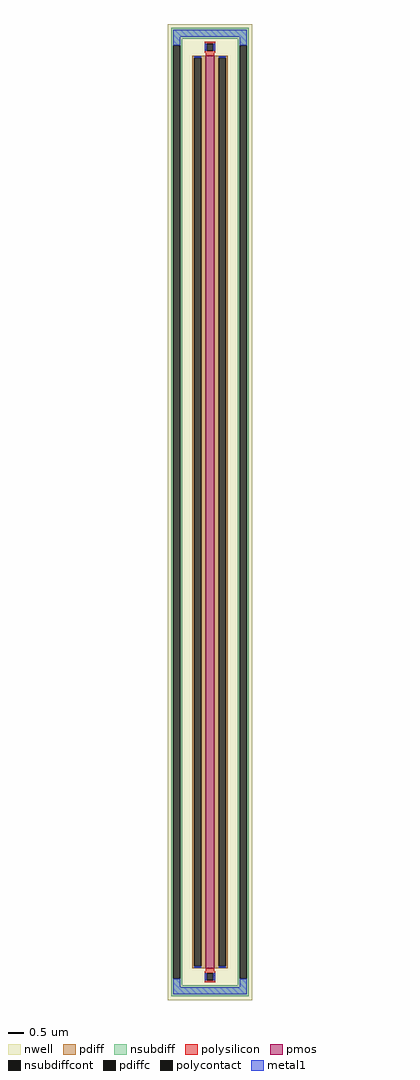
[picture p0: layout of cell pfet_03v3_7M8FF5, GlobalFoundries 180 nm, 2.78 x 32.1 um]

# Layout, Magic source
magic
tech gf180mcuD
magscale 1 10
<< nwell >>
rect -278 -3210 278 3210
<< pmos >>
rect -28 -3000 28 3000
<< pdiff >>
rect -116 2987 -28 3000
rect -116 -2987 -103 2987
rect -57 -2987 -28 2987
rect -116 -3000 -28 -2987
rect 28 2987 116 3000
rect 28 -2987 57 2987
rect 103 -2987 116 2987
rect 28 -3000 116 -2987
<< pdiffc >>
rect -103 -2987 -57 2987
rect 57 -2987 103 2987
<< nsubdiff >>
rect -254 3114 254 3186
rect -254 3070 -182 3114
rect -254 -3070 -241 3070
rect -195 -3070 -182 3070
rect 182 3070 254 3114
rect -254 -3114 -182 -3070
rect 182 -3070 195 3070
rect 241 -3070 254 3070
rect 182 -3114 254 -3070
rect -254 -3186 254 -3114
<< nsubdiffcont >>
rect -241 -3070 -195 3070
rect 195 -3070 241 3070
<< polysilicon >>
rect -36 3079 36 3092
rect -36 3033 -23 3079
rect 23 3033 36 3079
rect -36 3020 36 3033
rect -28 3000 28 3020
rect -28 -3020 28 -3000
rect -36 -3033 36 -3020
rect -36 -3079 -23 -3033
rect 23 -3079 36 -3033
rect -36 -3092 36 -3079
<< polycontact >>
rect -23 3033 23 3079
rect -23 -3079 23 -3033
<< metal1 >>
rect -241 3127 241 3173
rect -241 3070 -195 3127
rect -34 3033 -23 3079
rect 23 3033 34 3079
rect 195 3070 241 3127
rect -103 2987 -57 2998
rect -103 -2998 -57 -2987
rect 57 2987 103 2998
rect 57 -2998 103 -2987
rect -241 -3127 -195 -3070
rect -34 -3079 -23 -3033
rect 23 -3079 34 -3033
rect 195 -3127 241 -3070
rect -241 -3173 241 -3127
<< properties >>
string FIXED_BBOX -218 -3150 218 3150
string gencell pfet_03v3
string library gf180mcu
string parameters w 30.0 l 0.28 m 1 nf 1 diffcov 100 polycov 100 guard 1 glc 1 grc 1 gtc 0 gbc 0 tbcov 100 rlcov 100 topc 1 botc 1 poverlap 0 doverlap 1 lmin 0.28 wmin 0.22 class mosfet full_metal 1 compatible {pfet_03v3 pfet_05v0 pfet_06v0} ad {int((nf+1)/2) * W/nf * 0.18u} as {int((nf+2)/2) * W/nf * 0.18u} pd {2*int((nf+1)/2) * (W/nf + 0.18u)} ps {2*int((nf+2)/2) * (W/nf + 0.18u)} nrd {0.18u / W} nrs {0.18u / W} sa 0 sb 0 sd 0
<< end >>
